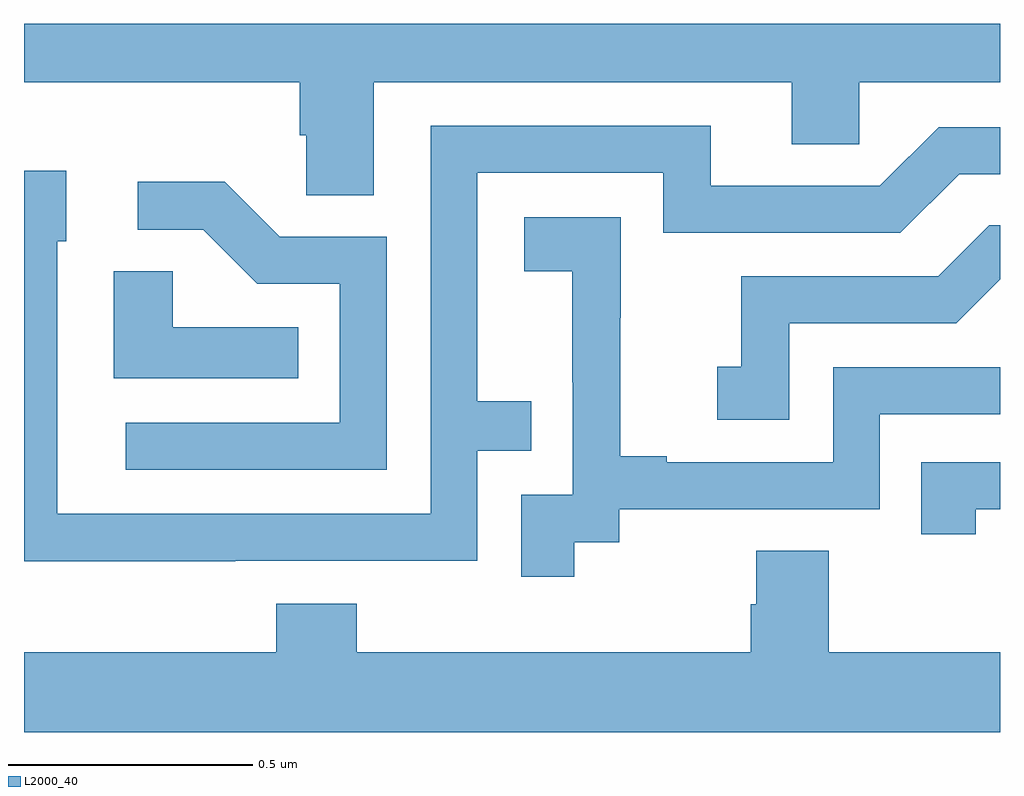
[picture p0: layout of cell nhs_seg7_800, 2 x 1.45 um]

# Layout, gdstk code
import gdstk
lib = gdstk.Library(unit=1e-6, precision=1e-09)
def P(c, l, *ps):  # polygons
    for p in ps: c.add(gdstk.Polygon(p, *l))
L2000_40 = (2000, 40)

nhs_seg7_800 = lib.new_cell('nhs_seg7_800')
P(nhs_seg7_800, L2000_40, [(121.717,1069.88),(122.573,1069.88),(122.573,1069.753),(122.712,1069.753),(122.712,1069.88),(123,1069.88),(123,1070),(121,1070),(121,1069.88),(121.565,1069.88),(121.565,1069.771),(121.578,1069.771),(121.578,1069.648),(121.717,1069.648)],
  [(121.433,1068.9),(121.929,1068.9),(121.929,1069.125),(122.039,1069.125),(122.039,1069.226),(121.929,1069.226),(121.929,1069.695),(122.31,1069.695),(122.31,1069.572),(122.796,1069.572),(122.916,1069.692),(123,1069.692),(123,1069.788),(122.874,1069.788),(122.754,1069.668),(122.407,1069.668),(122.407,1069.791),(121.833,1069.791),(121.833,1068.996),(121.068,1068.996),(121.068,1069.554),(121.087,1069.554),(121.087,1069.699),(121,1069.699),(121,1068.899),(121.433,1068.899)],
  [(121.743,1069.563),(121.524,1069.563),(121.411,1069.676),(121.233,1069.676),(121.233,1069.578),(121.367,1069.578),(121.478,1069.467),(121.647,1069.467),(121.647,1069.182),(121.209,1069.182),(121.209,1069.086),(121.743,1069.086)],
  [(122.128,1068.937),(122.22,1068.937),(122.22,1069.005),(122.754,1069.005),(122.754,1069.2),(123,1069.2),(123,1069.296),(122.658,1069.296),(122.658,1069.101),(122.317,1069.101),(122.317,1069.114),(122.222,1069.114),(122.222,1069.397),(122.223,1069.397),(122.223,1069.603),(122.025,1069.603),(122.025,1069.493),(122.123,1069.493),(122.123,1069.265),(122.124,1069.265),(122.124,1069.035),(122.019,1069.035),(122.019,1068.867),(122.128,1068.867)],
  [(122.568,1069.386),(122.91,1069.386),(123,1069.476),(123,1069.587),(122.978,1069.587),(122.873,1069.482),(122.47,1069.482),(122.47,1069.297),(122.421,1069.297),(122.421,1069.188),(122.568,1069.188)],
  [(121.562,1069.378),(121.305,1069.378),(121.305,1069.493),(121.184,1069.493),(121.184,1069.274),(121.562,1069.274)],
  [(122.95,1069.005),(123,1069.005),(123,1069.101),(122.839,1069.101),(122.839,1068.954),(122.95,1068.954)],
  [(123,1068.712),(122.649,1068.712),(122.649,1068.92),(122.501,1068.92),(122.501,1068.81),(122.489,1068.81),(122.489,1068.712),(121.682,1068.712),(121.682,1068.811),(121.517,1068.811),(121.517,1068.712),(121,1068.712),(121,1068.548),(123,1068.548)])

lib.write_gds('nhs_seg7_800.gds')
